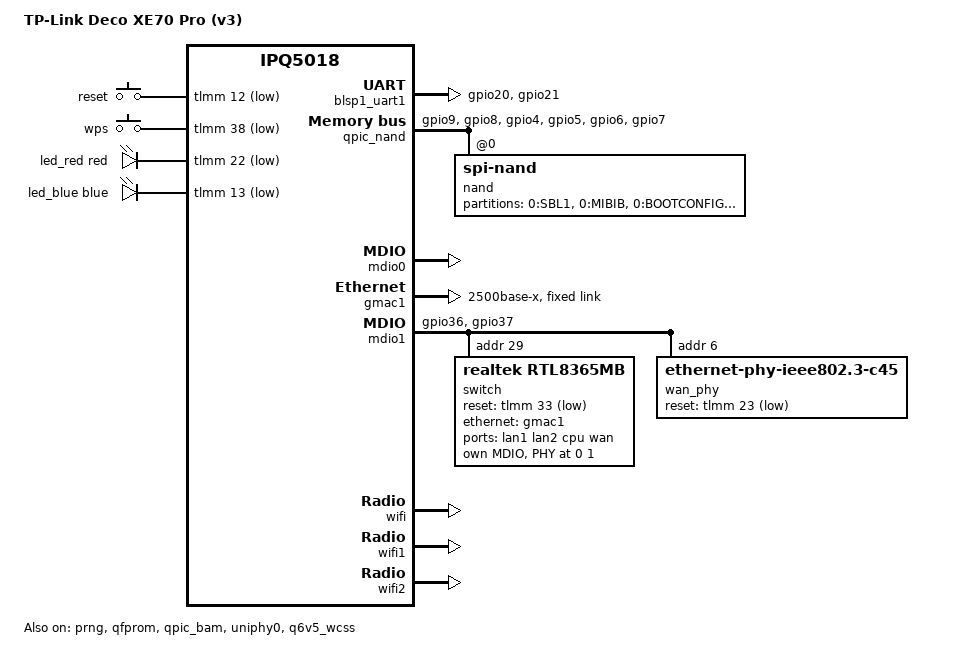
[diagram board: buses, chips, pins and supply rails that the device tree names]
// SPDX-License-Identifier: GPL-2.0-or-later OR MIT

/dts-v1/;

#include "ipq5018.dtsi"
#include "ipq5018-ess.dtsi"
#include "ipq5018-qcn6122.dtsi"

#include <dt-bindings/gpio/gpio.h>
#include <dt-bindings/input/input.h>
#include <dt-bindings/leds/common.h>

/ {
	model = "TP-Link Deco XE70 Pro (v3)";
	compatible = "tplink,deco-xe70pro", "qcom,ipq5018-mp03.5-c1", "qcom,ipq5018";

	aliases {
		serial0 = &blsp1_uart1;
		label-mac-device = &gmac1;
		led-boot = &led_blue;
		led-failsafe = &led_red;
		led-running = &led_blue;
		led-upgrade = &led_red;
	};

	chosen {
		stdout-path = "serial0:115200n8";
		bootargs-append = " root=/dev/ubiblock0_1 coherent_pool=2M";
	};

	keys {
		compatible = "gpio-keys";
		pinctrl-0 = <&button_pins>;
		pinctrl-names = "default";

		button-reset {
			label = "reset";
			gpios = <&tlmm 12 GPIO_ACTIVE_LOW>;
			linux,code = <KEY_RESTART>;
		};

		/* Vendor labels this as WPS/Wi-Fi; GPL DTS uses KEY_WPS_BUTTON on GPIO 38. */
		button-wps {
			label = "wps";
			gpios = <&tlmm 38 GPIO_ACTIVE_LOW>;
			linux,code = <KEY_WPS_BUTTON>;
		};
	};

	leds {
		compatible = "gpio-leds";

		/*
		 * GPL (qcom-ipq5018-mp03.5-c1): single multi-color indicator with
		 * red=GPIO22, green=GPIO38, blue=GPIO13 (all active low).
		 * GPIO38 is also used by the WPS/Wi-Fi button in the vendor DTS, so
		 * the green channel is not exposed here to avoid a GPIO conflict.
		 */
		led_red: led-red {
			color = <LED_COLOR_ID_RED>;
			function = LED_FUNCTION_STATUS;
			gpios = <&tlmm 22 GPIO_ACTIVE_LOW>;
		};

		led_blue: led-blue {
			color = <LED_COLOR_ID_BLUE>;
			function = LED_FUNCTION_STATUS;
			gpios = <&tlmm 13 GPIO_ACTIVE_LOW>;
		};
	};

};

&sleep_clk {
	clock-frequency = <32000>;
};

&xo_board_clk {
	clock-div = <4>;
	clock-mult = <1>;
};

&blsp1_uart1 {
	pinctrl-0 = <&serial_0_pins>;
	pinctrl-names = "default";
	status = "okay";
};

&prng {
	status = "okay";
};

&qfprom {
	status = "okay";
};

&qpic_bam {
	status = "okay";
};

&qpic_nand {
	pinctrl-0 = <&qpic_pins>;
	pinctrl-names = "default";
	status = "okay";

	nand@0 {
		compatible = "spi-nand";
		reg = <0>;

		nand-ecc-engine = <&qpic_nand>;
		nand-ecc-strength = <4>;
		nand-ecc-step-size = <512>;
		nand-bus-width = <8>;

		partitions {
			compatible = "fixed-partitions";
			#address-cells = <1>;
			#size-cells = <1>;

			partition@0 {
				label = "0:SBL1";
				reg = <0x0 0x80000>;
				read-only;
			};

			partition@80000 {
				label = "0:MIBIB";
				reg = <0x80000 0x80000>;
				read-only;
			};

			partition@100000 {
				label = "0:BOOTCONFIG";
				reg = <0x100000 0x40000>;
				read-only;
			};

			partition@140000 {
				label = "0:BOOTCONFIG1";
				reg = <0x140000 0x40000>;
				read-only;
			};

			partition@180000 {
				label = "0:QSEE";
				reg = <0x180000 0x100000>;
				read-only;
			};

			partition@280000 {
				label = "0:DEVCFG";
				reg = <0x280000 0x40000>;
				read-only;
			};

			partition@2c0000 {
				label = "0:CDT";
				reg = <0x2c0000 0x40000>;
				read-only;
			};

			partition@300000 {
				label = "0:APPSBLENV";
				reg = <0x300000 0x80000>;
			};

			partition@380000 {
				label = "0:APPSBL";
				reg = <0x380000 0x140000>;
				read-only;
			};

			partition@4c0000 {
				label = "0:ART";
				reg = <0x4c0000 0x100000>;
				read-only;
			};

			partition@5c0000 {
				label = "0:TRAINING";
				reg = <0x5c0000 0x80000>;
				read-only;
			};

			partition@640000 {
				label = "rootfs";
				reg = <0x640000 0x2a00000>;
			};

			partition@3040000 {
				label = "rootfs_1";
				reg = <0x3040000 0x2a00000>;
			};

			partition@5a40000 {
				label = "0:ETHPHYFW";
				reg = <0x5a40000 0x80000>;
				read-only;
			};

			partition@5ac0000 {
				label = "factory_data";
				reg = <0x5ac0000 0x900000>;
				read-only;
			};

			partition@63c0000 {
				label = "runtime_data";
				reg = <0x63c0000 0x1100000>;
				read-only;
			};
		};
	};
};



&mdio0 {
	status = "okay";
};

&uniphy0 {
	status = "okay";

	assigned-clocks = <&uniphy0 UNIPHY_CLK_REF>;
	assigned-clock-rates = <UNIPHY_REFCLK_50MHZ>;
};

&gmac1 {
	status = "okay";

	phy-mode = "2500base-x";

	fixed-link {
		speed = <2500>;
		full-duplex;
	};
};

&mdio1 {
	status = "okay";

	pinctrl-0 = <&mdio1_pins>;
	pinctrl-names = "default";


	switch@1d {
		compatible = "realtek,rtl8365mb";
		reg = <0x1d>;
		reset-gpios = <&tlmm 33 GPIO_ACTIVE_LOW>;


		mdio {
			compatible = "realtek,smi-mdio";
			#address-cells = <1>;
			#size-cells = <0>;

			switchphy0: ethernet-phy@0 {
				reg = <0>;
			};

			switchphy1: ethernet-phy@1 {
				reg = <1>;
			};

		};

		ports {
			#address-cells = <1>;
			#size-cells = <0>;

			port@0 {
				reg = <0>;
				label = "lan1";
				phy-handle = <&switchphy0>;
			};

			port@1 {
				reg = <1>;
				label = "lan2";
				phy-handle = <&switchphy1>;
			};

			/* EXT_PORT0 = hardware port 6 = CPU uplink to IPQ5018  */
			port@6 {
				reg = <6>;
				label = "cpu";
				ethernet = <&gmac1>;
				phy-mode = "2500base-x";

				fixed-link {
					speed = <2500>;
					full-duplex;
				};
			};
			
			/* EXT_PORT1 = hardware port 7 = WAN via RTL8221B */
			port@7 {
				reg = <7>;
				label = "wan";
				phy-mode = "2500base-x";
				phy-handle = <&wan_phy>;
			};
			
		}; /* End ports */
	}; /* End switch0@1d */
	
	/* The External WAN PHY - Now a sibling, not a child */
	wan_phy: ethernet-phy@6 {
		reg = <6>;
		compatible = "ethernet-phy-ieee802.3-c45"; 	// was compatible = "ethernet-phy-id001c.c849";
		reset-gpios = <&tlmm 23 GPIO_ACTIVE_LOW>;
		reset-assert-us = <100000>;
		reset-deassert-us = <20000>;

	};
	
}; /* End mdio1 */

/*
 * WiFi (GPL qcom-ipq5018-mp03.5-c1, ap-mp03.5*): tri-band
 *   - IPQ5018 2.4 GHz (q6_wcss_pd1)
 *   - QCN6122 5 GHz   (q6_wcss_pd2 / wifi1@b00a040)
 *   - QCN6122 6 GHz   (q6_wcss_pd3 / wifi2@b00b040)
 * Pre-cal data in 0:ART at 0x1000/0x26800/0x4c000 (see caldata hotplug).
 * Calibration variants/BDFs are board-specific and TBD.
 */
&q6_region {
	reg = <0x0 0x4b000000 0x0 0x4d00000>;
};

&q6v5_wcss {
	status = "okay";
};

&wifi {
	status = "okay";

	qcom,rproc = <&q6_wcss_pd1>;
	qcom,ath11k-fw-memory-mode = <1>;
	qcom,bdf-addr = <0x4c400000>;
	qcom,calibration-variant = "TP-Link-Deco-XE70-Pro";
};

&wifi1 {
	/* Swap test: b00a040/pd2 as 6 GHz candidate (native cal 0x26800) */
	status = "okay";

	qcom,rproc = <&q6_wcss_pd2>;
	qcom,userpd-subsys-name = "q6v5_wcss_userpd2";
	qcom,ath11k-fw-memory-mode = <1>;
	qcom,bdf-addr = <0x4d100000>;
	qcom,m3-dump-addr = <0x4df00000>;
	qcom,calibration-variant = "TP-Link-Deco-XE70-Pro-6G";
};

&wifi2 {
	/* Swap test: b00b040/pd3 as 5 GHz (native cal 0x4C000) - strong 5G scans observed */
	status = "okay";

	qcom,rproc = <&q6_wcss_pd3>;
	qcom,userpd-subsys-name = "q6v5_wcss_userpd3";
	qcom,ath11k-fw-memory-mode = <1>;
	qcom,bdf-addr = <0x4e500000>;
	qcom,m3-dump-addr = <0x4f200000>;
	qcom,calibration-variant = "TP-Link-Deco-XE70-Pro-5G";
};

&tlmm {
	button_pins: button-state {
		pins = "gpio12", "gpio38";
		function = "gpio";
		drive-strength = <8>;
		bias-pull-up;
	};

	mdio1_pins: mdio1-state {
		mdc-pins {
			pins = "gpio36";
			function = "mdc";
			drive-strength = <8>;
			bias-pull-up;
		};

		mdio-pins {
			pins = "gpio37";
			function = "mdio";
			drive-strength = <8>;
			bias-pull-up;
		};
	};

	qpic_pins: qpic-state {
		clock-pins {
			pins = "gpio9";
			function = "qspi_clk";
			drive-strength = <8>;
			bias-disable;
		};

		cs-pins {
			pins = "gpio8";
			function = "qspi_cs";
			drive-strength = <8>;
			bias-disable;
		};

		data-pins {
			pins = "gpio4", "gpio5", "gpio6", "gpio7";
			function = "qspi_data";
			drive-strength = <8>;
			bias-disable;
		};
	};

	serial_0_pins: uart0-state {
		pins = "gpio20", "gpio21";
		function = "blsp0_uart0";
		bias-disable;
	};
};
